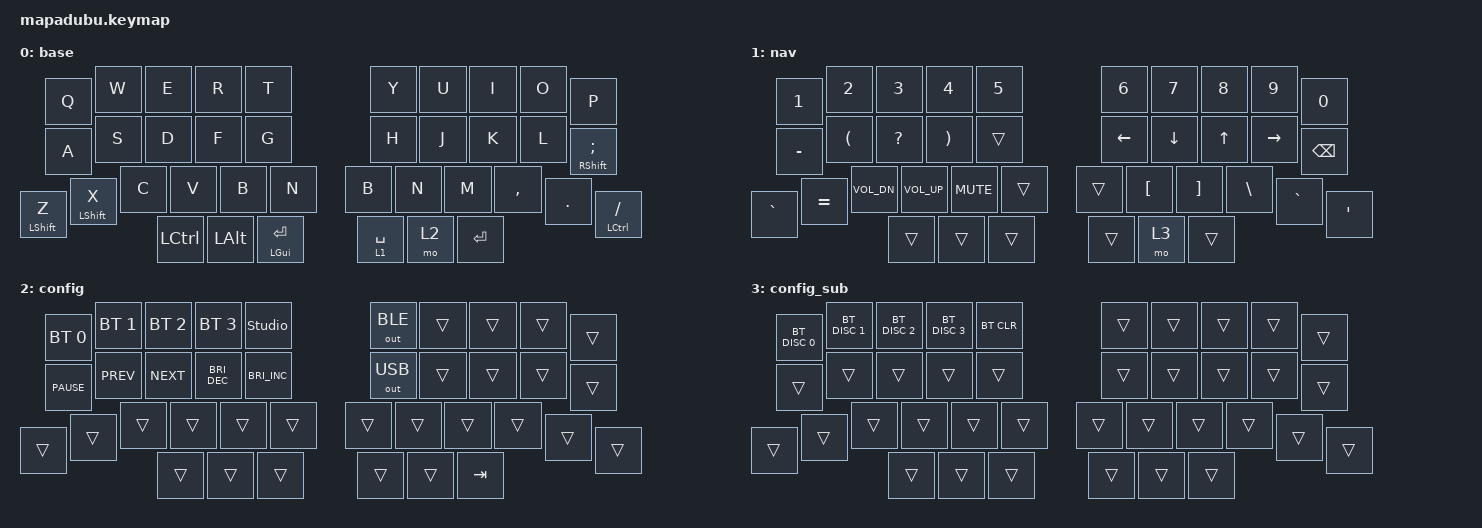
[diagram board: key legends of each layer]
/*
 * Copyright (c) 2024 The ZMK Contributors
 *
 * SPDX-License-Identifier: MIT
 */

#include <behaviors.dtsi>
#include <dt-bindings/zmk/bt.h>
#include <dt-bindings/zmk/keys.h>
#include <dt-bindings/zmk/outputs.h>

&mt { flavor = "tap-preferred"; };

/ {
    combos {
        compatible = "zmk,combos";

        esc {
            bindings = <&kp ESCAPE>;
            key-positions = <0 1>;
        };

        tab {
            bindings = <&kp TAB>;
            key-positions = <12 13>;
        };
    };

    keymap {
        compatible = "zmk,keymap";

        base {
            bindings = <
&kp Q  &kp W  &kp E  &kp R  &kp T  					&kp Y  &kp U  &kp I  &kp O  &kp P
&kp A  &kp S  &kp D  &kp F  &kp G 	 				&kp H  &kp J  &kp K  &kp L  &mt RSHIFT SEMI
&mt LSHIFT Z  &mt LSHIFT X  &kp C  &kp V  &kp B  	&kp N  &kp B  &kp N  &kp M  &kp COMMA  &kp PERIOD  &mt LCTRL SLASH
&kp LCTRL  &kp LEFT_ALT  &mt LGUI RET  				&lt 1 SPACE  &mo 2  &kp RET
            >;
        };

        nav {
            bindings = <
&kp N1  &kp N2  &kp N3  &kp N4  &kp N5  									&kp N6  &kp N7  &kp N8  &kp N9  &kp N0  
&kp MINUS  &kp LPAR  &kp QUESTION  &kp RPAR  &trans  						&kp LEFT  &kp DOWN  &kp UP  &kp RIGHT  &kp BSPC
&kp GRAVE  &kp EQUAL  &kp C_VOL_DN  &kp C_VOLUME_UP  &kp K_MUTE  &trans  	&trans  &kp LBKT  &kp RBKT  &kp BSLH  &kp GRAVE  &kp SQT  
&trans  &trans  &trans  													&trans  &mo 3  &trans
            >;
        };

        config {
            bindings = <
&bt BT_SEL 0  &bt BT_SEL 1  &bt BT_SEL 2  &bt BT_SEL 3  &studio_unlock  			&out OUT_BLE  &trans  &trans  &trans  &trans
&kp C_PAUSE  &kp C_PREV  &kp C_NEXT  &kp C_BRIGHTNESS_DEC  &kp C_BRIGHTNESS_INC		&out OUT_USB  &trans  &trans  &trans  &trans
&trans  &trans  &trans  &trans  &trans  &trans  									&trans  &trans  &trans  &trans  &trans  &trans
&trans  &trans  &trans  															&trans  &trans  &kp TAB
            >;
        };

        config_sub {
            bindings = <
&bt BT_DISC 0  &bt BT_DISC 1  &bt BT_DISC 2  &bt BT_DISC 3  &bt BT_CLR  	&trans  &trans  &trans  &trans  &trans
&trans  &trans  &trans  &trans  &trans  									&trans  &trans  &trans  &trans  &trans
&trans  &trans  &trans  &trans  &trans  &trans  							&trans  &trans  &trans  &trans  &trans  &trans
&trans  &trans  &trans  													&trans  &trans  &trans
            >;
        };
    };
};

